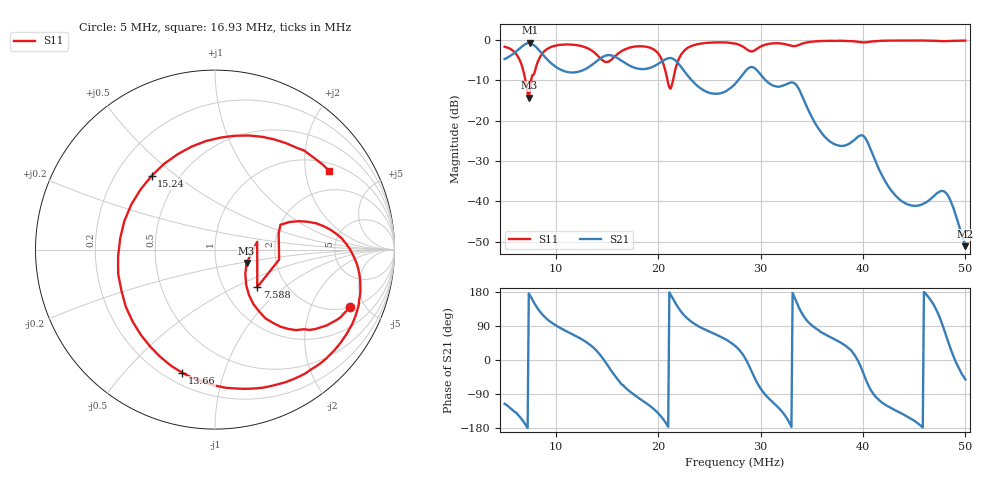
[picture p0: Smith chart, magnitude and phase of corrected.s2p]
! S11/S21 only; reverse parameters are placeholders. Device calibration unverified.
! [Saver CAL applied] C:\Users\aknya\MyProjects\rf-simulator\calibration2.cal | Ideal standards assumed | Input: NanoVNA F V2 profile | COM3 | 2026-09-08T10:56:13.1379799-04:00 | device calibration unverified
# HZ S RI R 50
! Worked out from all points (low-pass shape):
!   401 points, 5 MHz to 50 MHz, reference 50 ohm
!   highest |S21| = -0.77 dB at 7.475 MHz (marker M1); lowest = -51.1 dB at 50 MHz (marker M2)
!   |S21| within 3 dB of the highest: 5.703 MHz to 8.757 MHz (3.054 MHz wide, 42.2 % of centre)
!   lowest |S11| = -14.4 dB at 7.362 MHz (marker M3), VSWR 1.47, Z = 70.4 - j10.9 ohm
!   |S11| at or under -10 dB: 7.027 MHz to 7.59 MHz (563.6 kHz wide, 7.71 % of centre); 20.91 MHz to 21.45 MHz (540.4 kHz wide, 2.55 % of centre)
!   S12 and S22 are empty: the file has one direction only
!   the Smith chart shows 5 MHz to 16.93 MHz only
!   S11 on the Smith chart (normalised r, x): 5 MHz: 2.02, -3.90; 7.588 MHz: 1.43, -0.67; 13.66 MHz: 0.27, -0.73; 15.24 MHz: 0.35, +0.41; 16.93 MHz: 1.23, +2.69
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5000000  0.7518 -0.3209  -0.2481 -0.5199  0 0  0 0
7362500  0.176 -0.0749  -0.912 0.0725  0 0  0 0
7475000  0.2351 0.0434  -0.9022 0.1567  0 0  0 0
7587500  0.2355 -0.2094  -0.8589 0.2162  0 0  0 0
9725000  0.809 -0.1725  -0.0513 0.4868  0 0  0 0
1.25375e7  0.3551 -0.7493  0.2396 0.3367  0 0  0 0
1.36625e7  -0.1823 -0.6861  0.4213 0.2722  0 0  0 0
1.52375e7  -0.3531 0.411  0.6001 -0.2321  0 0  0 0
1.6925e7  0.6352 0.4406  0.1197 -0.4851  0 0  0 0
1.86125e7  0.8117 -0.1424  -0.1465 -0.4066  0 0  0 0
2.0075e7  0.3609 -0.5445  -0.4052 -0.3077  0 0  0 0
2.12e7  -0.2458 0.0266  -0.5882 0.0701  0 0  0 0
2.22125e7  0.3242 0.559  -0.2888 0.3631  0 0  0 0
2.40125e7  0.8628 0.2019  0.00989 0.2567  0 0  0 0
2.75e7  0.8357 -0.3182  0.2246 0.1723  0 0  0 0
2.98625e7  0.765 -0.2402  0.136 -0.3642  0 0  0 0
3.30125e7  0.7047 -0.4539  -0.2955 -0.018  0 0  0 0
3.50375e7  0.7702 -0.5444  -0.00101 0.108  0 0  0 0
4.01e7  0.5647 -0.732  0.049 -0.0403  0 0  0 0
4.2575e7  0.5104 -0.826  -0.00836 -0.0121  0 0  0 0
4.7975e7  0.2882 -0.9113  0.00328 0.0127  0 0  0 0
5e7  0.2237 -0.9464  0.00176 -0.00218  0 0  0 0
